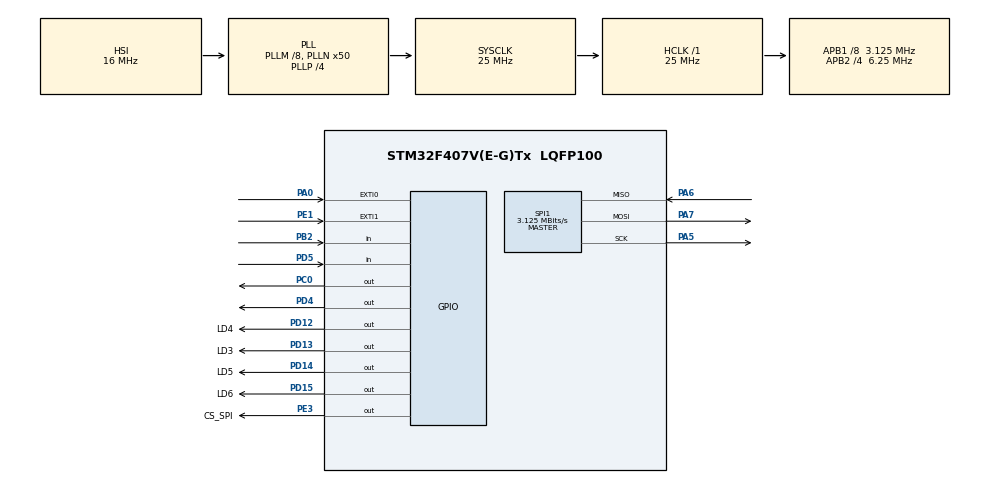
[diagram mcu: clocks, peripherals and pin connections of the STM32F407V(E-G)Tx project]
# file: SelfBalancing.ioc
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Mcu.Family=STM32F4
Mcu.Name=STM32F407V(E-G)Tx
Mcu.Package=LQFP100
NVIC.PriorityGroup=NVIC_PRIORITYGROUP_0
PA0-WKUP.GPIO_ModeDefaultEXTI=GPIO_MODE_IT_RISING
PA0-WKUP.GPIO_PuPd=GPIO_NOPULL
PA0-WKUP.Signal=GPXTI0
PA10.GPIO_Mode=GPIO_MODE_AF_PP
PA10.GPIO_PuPd=GPIO_NOPULL
PA10.GPIO_Speed=GPIO_SPEED_FREQ_VERY_HIGH
PA10.Signal=USB_OTG_FS_ID
PA11.GPIO_Mode=GPIO_MODE_AF_PP
PA11.GPIO_PuPd=GPIO_NOPULL
PA11.GPIO_Speed=GPIO_SPEED_FREQ_VERY_HIGH
PA11.Signal=USB_OTG_FS_DM
PA12.GPIO_Mode=GPIO_MODE_AF_PP
PA12.GPIO_PuPd=GPIO_NOPULL
PA12.GPIO_Speed=GPIO_SPEED_FREQ_VERY_HIGH
PA12.Signal=USB_OTG_FS_DP
PA13.Signal=SYS_JTMS-SWDIO
PA14.Signal=SYS_JTCK-SWCLK
PA4.GPIO_Mode=GPIO_MODE_AF_PP
PA4.GPIO_PuPd=GPIO_NOPULL
PA4.GPIO_Speed=GPIO_SPEED_FREQ_LOW
PA4.Signal=I2S3_WS
PA5.GPIO_Mode=GPIO_MODE_AF_PP
PA5.GPIO_PuPd=GPIO_NOPULL
PA5.GPIO_Speed=GPIO_SPEED_FREQ_VERY_HIGH
PA5.Mode=Full_Duplex_Master
PA5.Signal=SPI1_SCK
PA6.GPIO_Mode=GPIO_MODE_AF_PP
PA6.GPIO_PuPd=GPIO_NOPULL
PA6.GPIO_Speed=GPIO_SPEED_FREQ_VERY_HIGH
PA6.Mode=Full_Duplex_Master
PA6.Signal=SPI1_MISO
PA7.GPIO_Mode=GPIO_MODE_AF_PP
PA7.GPIO_PuPd=GPIO_NOPULL
PA7.GPIO_Speed=GPIO_SPEED_FREQ_VERY_HIGH
PA7.Mode=Full_Duplex_Master
PA7.Signal=SPI1_MOSI
PA9.GPIO_Mode=GPIO_MODE_INPUT
PA9.GPIO_PuPd=GPIO_NOPULL
PA9.Signal=USB_OTG_FS_VBUS
PB10.GPIO_Mode=GPIO_MODE_AF_PP
PB10.GPIO_PuPd=GPIO_NOPULL
PB10.GPIO_Speed=GPIO_SPEED_FREQ_LOW
PB10.Signal=I2S2_CK
PB2.GPIO_Mode=GPIO_MODE_INPUT
PB2.GPIO_PuPd=GPIO_NOPULL
PB2.Signal=GPIO_Input
PB3.Signal=SYS_JTDO-SWO
PB6.GPIO_Mode=GPIO_MODE_AF_OD
PB6.GPIO_PuPd=GPIO_NOPULL
PB6.GPIO_PuPdOD=GPIO_PULLUP
PB6.GPIO_Speed=GPIO_SPEED_FREQ_VERY_HIGH
PB6.Signal=I2C1_SCL
PB9.GPIO_Mode=GPIO_MODE_AF_OD
PB9.GPIO_PuPd=GPIO_NOPULL
PB9.GPIO_PuPdOD=GPIO_PULLUP
PB9.GPIO_Speed=GPIO_SPEED_FREQ_VERY_HIGH
PB9.Signal=I2C1_SDA
PC0.GPIO_ModeDefaultOutputPP=GPIO_MODE_OUTPUT_PP
PC0.GPIO_PuPd=GPIO_NOPULL
PC0.GPIO_Speed=GPIO_SPEED_FREQ_LOW
PC0.PinState=GPIO_PIN_RESET
PC0.Signal=GPIO_Output
PC10.GPIO_Mode=GPIO_MODE_AF_PP
PC10.GPIO_PuPd=GPIO_NOPULL
PC10.GPIO_Speed=GPIO_SPEED_FREQ_LOW
PC10.Signal=I2S3_CK
PC12.GPIO_Mode=GPIO_MODE_AF_PP
PC12.GPIO_PuPd=GPIO_NOPULL
PC12.GPIO_Speed=GPIO_SPEED_FREQ_LOW
PC12.Signal=I2S3_SD
PC14-OSC32_IN.Signal=RCC_OSC32_IN
PC15-OSC32_OUT.Signal=RCC_OSC32_OUT
PC3.GPIO_Mode=GPIO_MODE_AF_PP
PC3.GPIO_PuPd=GPIO_NOPULL
PC3.GPIO_Speed=GPIO_SPEED_FREQ_LOW
PC3.Signal=I2S2_SD
PC7.GPIO_Mode=GPIO_MODE_AF_PP
PC7.GPIO_PuPd=GPIO_NOPULL
PC7.GPIO_Speed=GPIO_SPEED_FREQ_LOW
PC7.Signal=I2S3_MCK
PD12.GPIO_Label=LD4
PD12.GPIO_ModeDefaultOutputPP=GPIO_MODE_OUTPUT_PP
PD12.GPIO_PuPd=GPIO_NOPULL
PD12.GPIO_Speed=GPIO_SPEED_FREQ_LOW
PD12.PinState=GPIO_PIN_RESET
PD12.Signal=GPIO_Output
PD13.GPIO_Label=LD3
PD13.GPIO_ModeDefaultOutputPP=GPIO_MODE_OUTPUT_PP
PD13.GPIO_PuPd=GPIO_NOPULL
PD13.GPIO_Speed=GPIO_SPEED_FREQ_LOW
PD13.PinState=GPIO_PIN_RESET
PD13.Signal=GPIO_Output
PD14.GPIO_Label=LD5
PD14.GPIO_ModeDefaultOutputPP=GPIO_MODE_OUTPUT_PP
PD14.GPIO_PuPd=GPIO_NOPULL
PD14.GPIO_Speed=GPIO_SPEED_FREQ_LOW
PD14.PinState=GPIO_PIN_RESET
PD14.Signal=GPIO_Output
PD15.GPIO_Label=LD6
PD15.GPIO_ModeDefaultOutputPP=GPIO_MODE_OUTPUT_PP
PD15.GPIO_PuPd=GPIO_NOPULL
PD15.GPIO_Speed=GPIO_SPEED_FREQ_LOW
PD15.PinState=GPIO_PIN_RESET
PD15.Signal=GPIO_Output
PD4.GPIO_ModeDefaultOutputPP=GPIO_MODE_OUTPUT_PP
PD4.GPIO_PuPd=GPIO_NOPULL
PD4.GPIO_Speed=GPIO_SPEED_FREQ_LOW
PD4.PinState=GPIO_PIN_RESET
PD4.Signal=GPIO_Output
PD5.GPIO_Mode=GPIO_MODE_INPUT
PD5.GPIO_PuPd=GPIO_NOPULL
PD5.Signal=GPIO_Input
PE1.GPIO_ModeDefaultEXTI=GPIO_MODE_IT_RISING
PE1.GPIO_PuPd=GPIO_NOPULL
PE1.Signal=GPXTI1
PE3.GPIO_Label=CS_SPI
PE3.GPIO_ModeDefaultOutputPP=GPIO_MODE_OUTPUT_PP
PE3.GPIO_PuPd=GPIO_NOPULL
PE3.GPIO_Speed=GPIO_SPEED_FREQ_LOW
PE3.PinState=GPIO_PIN_SET
PE3.Signal=GPIO_Output
PH0-OSC_IN.Signal=RCC_OSC_IN
PH1-OSC_OUT.Signal=RCC_OSC_OUT
ProjectManager.HeapSize=0x200
ProjectManager.StackSize=0x400
ProjectManager.TargetToolchain=SW4STM32
RCC.48MHZClocksFreq_Value=14285714.285714285
RCC.AHBFreq_Value=25000000
RCC.APB1CLKDivider=RCC_HCLK_DIV8
RCC.APB1Freq_Value=3125000
RCC.APB1TimFreq_Value=6250000
RCC.APB2CLKDivider=RCC_HCLK_DIV4
RCC.APB2Freq_Value=6250000
RCC.APB2TimFreq_Value=12500000
RCC.CortexFreq_Value=25000000
RCC.HCLKFreq_Value=25000000
RCC.HSE_VALUE=8000000
RCC.HSI_VALUE=16000000
RCC.LSE_VALUE=32768
RCC.PLLM=8
RCC.PLLN=50
RCC.PLLP=RCC_PLLP_DIV4
RCC.PLLQ=7
RCC.SYSCLKFreq_VALUE=25000000
RCC.SYSCLKSource=RCC_SYSCLKSOURCE_PLLCLK
RCC.VCOOutputFreq_Value=100000000
SPI1.CalculateBaudRate=3.125 MBits/s
SPI1.DataSize=SPI_DATASIZE_8BIT
SPI1.Direction=SPI_DIRECTION_2LINES
SPI1.FirstBit=SPI_FIRSTBIT_MSB
SPI1.Mode=SPI_MODE_MASTER
SPI1.VirtualType=VM_MASTER
board=STM32F4DISCOVERY

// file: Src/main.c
/**
  ******************************************************************************
  * File Name          : main.c
  * Description        : Main program body
  ******************************************************************************
  ** This notice applies to any and all portions of this file
  * that are not between comment pairs USER CODE BEGIN and
  * USER CODE END. Other portions of this file, whether
  * inserted by the user or by software development tools
  * are owned by their respective copyright owners.
  *
  * COPYRIGHT(c) 2018 STMicroelectronics
  *
  * Redistribution and use in source and binary forms, with or without modification,
  * are permitted provided that the following conditions are met:
  *   1. Redistributions of source code must retain the above copyright notice,
  *      this list of conditions and the following disclaimer.
  *   2. Redistributions in binary form must reproduce the above copyright notice,
  *      this list of conditions and the following disclaimer in the documentation
  *      and/or other materials provided with the distribution.
  *   3. Neither the name of STMicroelectronics nor the names of its contributors
  *      may be used to endorse or promote products derived from this software
  *      without specific prior written permission.
  *
  * THIS SOFTWARE IS PROVIDED BY THE COPYRIGHT HOLDERS AND CONTRIBUTORS "AS IS"
  * AND ANY EXPRESS OR IMPLIED WARRANTIES, INCLUDING, BUT NOT LIMITED TO, THE
  * IMPLIED WARRANTIES OF MERCHANTABILITY AND FITNESS FOR A PARTICULAR PURPOSE ARE
  * DISCLAIMED. IN NO EVENT SHALL THE COPYRIGHT HOLDER OR CONTRIBUTORS BE LIABLE
  * FOR ANY DIRECT, INDIRECT, INCIDENTAL, SPECIAL, EXEMPLARY, OR CONSEQUENTIAL
  * DAMAGES (INCLUDING, BUT NOT LIMITED TO, PROCUREMENT OF SUBSTITUTE GOODS OR
  * SERVICES; LOSS OF USE, DATA, OR PROFITS; OR BUSINESS INTERRUPTION) HOWEVER
  * CAUSED AND ON ANY THEORY OF LIABILITY, WHETHER IN CONTRACT, STRICT LIABILITY,
  * OR TORT (INCLUDING NEGLIGENCE OR OTHERWISE) ARISING IN ANY WAY OUT OF THE USE
  * OF THIS SOFTWARE, EVEN IF ADVISED OF THE POSSIBILITY OF SUCH DAMAGE.
  *
  ******************************************************************************
  */

#include "main.h"
#include "stm32f4xx_hal.h"

/* USER CODE BEGIN Includes */
SPI_HandleTypeDef hspi1;
/* LD4 -> Green Led
 * LD3 -> Orange Led
 * LD5 -> Red Led
 * LD6 -> Blue Led
 */
#include "defines.h"
/*#include "tm_stm32f4_disco.h" */
/*#include "tm_stm32f4_delay.h" */
#include "tm_stm32f4_lis302dl_lis3dsh.h"

/* USER CODE END Includes */

/* USER CODE BEGIN PV */
/* Private variables ---------------------------------------------------------*/

/* USER CODE END PV */

void SystemClock_Config(void);
static void MX_GPIO_Init(void);
static void MX_SPI1_Init(void);

/* USER CODE BEGIN PFP */
/* Private function prototypes -----------------------------------------------*/

/* USER CODE END PFP */

int main(void)
{

  /* USER CODE BEGIN 1 */

	TM_LIS302DL_LIS3DSH_Device_t status_gyro;

  /* USER CODE END 1 */

  /* MCU Configuration----------------------------------------------------------*/

  /* Reset of all peripherals, Initializes the Flash interface and the Systick. */
  HAL_Init();

  /* Configure the system clock */
  SystemClock_Config();

  /* Initialize all configured peripherals */
  MX_GPIO_Init();
  MX_SPI1_Init();

  /* USER CODE BEGIN 2 */

  TM_LIS302DL_LIS3DSH_t Axes_Data;

   /* Initialize system */
   SystemInit();

   /* Init delay */

   //  TM_DELAY_Init(); #from original file
   // This function is not needed. HAL delay will be used

   /* Initialize LEDs */
   //TM_DISCO_LedInit(); #CubeMX should have already set the pins. I am using the default setting of the Discovery board

   /* Detect proper device */

   status_gyro = TM_LIS302DL_LIS3DSH_Detect();
   if (TM_LIS302DL_LIS3DSH_Detect() == TM_LIS302DL_LIS3DSH_Device_LIS302DL) {
       /* Turn on GREEN and RED */
       //TM_DISCO_LedOn(LD4_Pin | LD5_Pin);
       /* Initialize LIS302DL */
       TM_LIS302DL_LIS3DSH_Init(TM_LIS302DL_Sensitivity_2_3G, TM_LIS302DL_Filter_2Hz);

   } else if (TM_LIS302DL_LIS3DSH_Detect() == TM_LIS302DL_LIS3DSH_Device_LIS3DSH) {
       /* Turn on BLUE and ORANGE */
      // TM_DISCO_LedOn(LD6_Pin | LD3_Pin);
       /* Initialize LIS3DSH */
       TM_LIS302DL_LIS3DSH_Init(TM_LIS3DSH_Sensitivity_2G, TM_LIS3DSH_Filter_800Hz);
   } else {
       /* Device is not recognized */
       /* Turn on ALL leds */
       //TM_DISCO_LedOn(LD4_Pin | LD5_Pin | LD6_Pin | LD3_Pin);
	   HAL_GPIO_TogglePin(GPIOD, LD5_Pin);
       /* Infinite loop */

       //while (1);
   }

   /* Delay for 2 seconds */
   //HAL_Delay(2000);

  /* USER CODE END 2 */

  /* Infinite loop */
  while (1)
  {

  /* USER CODE BEGIN 3 */

	  /*
	  if (status_gyro == TM_LIS302DL_LIS3DSH_Device_LIS302DL) {

		  HAL_GPIO_TogglePin(GPIOD, LD3_Pin);
		  HAL_Delay(100);

	  } else if (status_gyro == TM_LIS302DL_LIS3DSH_Device_LIS3DSH) {

		  HAL_GPIO_TogglePin(GPIOD, LD4_Pin);
		  HAL_Delay(100);

	  } else
	  {
		  HAL_GPIO_TogglePin(GPIOD, LD5_Pin);
		  HAL_Delay(100);
	  }; */

	    /* Read axes data from initialized accelerometer */

	       TM_LIS302DL_LIS3DSH_ReadAxes(&Axes_Data);
	       /* Turn LEDS on or off */
	       /* Check X axes */

	       if (Axes_Data.X > 200) {
	           HAL_GPIO_WritePin(GPIOD, LD5_Pin, GPIO_PIN_SET);
	       } else {
	           HAL_GPIO_WritePin(GPIOD,LD5_Pin, GPIO_PIN_RESET);
	       }
	       if (Axes_Data.X < -200) {
	    	   HAL_GPIO_WritePin(GPIOD, LD4_Pin, GPIO_PIN_SET);
	       } else {
	    	   HAL_GPIO_WritePin(GPIOD,LD4_Pin, GPIO_PIN_RESET);
	       }
	       /* Check Y axes */

	       if (Axes_Data.Y > 200) {
	    	   HAL_GPIO_WritePin(GPIOD, LD3_Pin, GPIO_PIN_SET);
	       } else {
	    	   HAL_GPIO_WritePin(GPIOD,LD3_Pin, GPIO_PIN_RESET);
	       }
	       if (Axes_Data.Y < -200) {
	    	   HAL_GPIO_WritePin(GPIOD, LD6_Pin, GPIO_PIN_SET);
	       } else {
	    	   HAL_GPIO_WritePin(GPIOD, LD6_Pin, GPIO_PIN_RESET);
	       }

  }
  /* USER CODE END 3 */

}

/** System Clock Configuration
*/
void SystemClock_Config(void)
{

  RCC_OscInitTypeDef RCC_OscInitStruct;
  RCC_ClkInitTypeDef RCC_ClkInitStruct;

    /**Configure the main internal regulator output voltage
    */
  __HAL_RCC_PWR_CLK_ENABLE();

  __HAL_PWR_VOLTAGESCALING_CONFIG(PWR_REGULATOR_VOLTAGE_SCALE1);

    /**Initializes the CPU, AHB and APB busses clocks
    */
  RCC_OscInitStruct.OscillatorType = RCC_OSCILLATORTYPE_HSI;
  RCC_OscInitStruct.HSIState = RCC_HSI_ON;
  RCC_OscInitStruct.HSICalibrationValue = 16;
  RCC_OscInitStruct.PLL.PLLState = RCC_PLL_ON;
  RCC_OscInitStruct.PLL.PLLSource = RCC_PLLSOURCE_HSI;
  RCC_OscInitStruct.PLL.PLLM = 8;
  RCC_OscInitStruct.PLL.PLLN = 50;
  RCC_OscInitStruct.PLL.PLLP = RCC_PLLP_DIV4;
  RCC_OscInitStruct.PLL.PLLQ = 7;
  if (HAL_RCC_OscConfig(&RCC_OscInitStruct) != HAL_OK)
  {
    _Error_Handler(__FILE__, __LINE__);
  }

    /**Initializes the CPU, AHB and APB busses clocks
    */
  RCC_ClkInitStruct.ClockType = RCC_CLOCKTYPE_HCLK|RCC_CLOCKTYPE_SYSCLK
                              |RCC_CLOCKTYPE_PCLK1|RCC_CLOCKTYPE_PCLK2;
  RCC_ClkInitStruct.SYSCLKSource = RCC_SYSCLKSOURCE_PLLCLK;
  RCC_ClkInitStruct.AHBCLKDivider = RCC_SYSCLK_DIV1;
  RCC_ClkInitStruct.APB1CLKDivider = RCC_HCLK_DIV8;
  RCC_ClkInitStruct.APB2CLKDivider = RCC_HCLK_DIV4;

  if (HAL_RCC_ClockConfig(&RCC_ClkInitStruct, FLASH_LATENCY_0) != HAL_OK)
  {
    _Error_Handler(__FILE__, __LINE__);
  }

    /**Configure the Systick interrupt time
    */
  HAL_SYSTICK_Config(HAL_RCC_GetHCLKFreq()/1000);

    /**Configure the Systick
    */
  HAL_SYSTICK_CLKSourceConfig(SYSTICK_CLKSOURCE_HCLK);

  /* SysTick_IRQn interrupt configuration */
  HAL_NVIC_SetPriority(SysTick_IRQn, 0, 0);
}

/* SPI1 init function */
static void MX_SPI1_Init(void)
{

  /* SPI1 parameter configuration*/
  hspi1.Instance = SPI1;
  hspi1.Init.Mode = SPI_MODE_MASTER;
  hspi1.Init.Direction = SPI_DIRECTION_2LINES;
  hspi1.Init.DataSize = SPI_DATASIZE_8BIT;
  hspi1.Init.CLKPolarity = SPI_POLARITY_LOW;
  hspi1.Init.CLKPhase = SPI_PHASE_1EDGE;
  hspi1.Init.NSS = SPI_NSS_SOFT;
  hspi1.Init.BaudRatePrescaler = SPI_BAUDRATEPRESCALER_2;
  hspi1.Init.FirstBit = SPI_FIRSTBIT_MSB;
  hspi1.Init.TIMode = SPI_TIMODE_DISABLE;
  hspi1.Init.CRCCalculation = SPI_CRCCALCULATION_DISABLE;
  hspi1.Init.CRCPolynomial = 10;
  if (HAL_SPI_Init(&hspi1) != HAL_OK)
  {
    _Error_Handler(__FILE__, __LINE__);
  }

}

/** Configure pins as
        * Analog
        * Input
        * Output
        * EVENT_OUT
        * EXTI
     PC3   ------> I2S2_SD
     PA4   ------> I2S3_WS
     PB10   ------> I2S2_CK
     PC7   ------> I2S3_MCK
     PA9   ------> USB_OTG_FS_VBUS
     PA10   ------> USB_OTG_FS_ID
     PA11   ------> USB_OTG_FS_DM
     PA12   ------> USB_OTG_FS_DP
     PC10   ------> I2S3_CK
     PC12   ------> I2S3_SD
     PB6   ------> I2C1_SCL
     PB9   ------> I2C1_SDA
*/
static void MX_GPIO_Init(void)
{

  GPIO_InitTypeDef GPIO_InitStruct;

  /* GPIO Ports Clock Enable */
  __HAL_RCC_GPIOE_CLK_ENABLE();
  __HAL_RCC_GPIOC_CLK_ENABLE();
  __HAL_RCC_GPIOH_CLK_ENABLE();
  __HAL_RCC_GPIOA_CLK_ENABLE();
  __HAL_RCC_GPIOB_CLK_ENABLE();
  __HAL_RCC_GPIOD_CLK_ENABLE();

  /*Configure GPIO pin Output Level */
  HAL_GPIO_WritePin(CS_SPI_GPIO_Port, CS_SPI_Pin, GPIO_PIN_SET);

  /*Configure GPIO pin Output Level */
  HAL_GPIO_WritePin(GPIOC, GPIO_PIN_0, GPIO_PIN_RESET);

  /*Configure GPIO pin Output Level */
  HAL_GPIO_WritePin(GPIOD, LD4_Pin|LD3_Pin|LD5_Pin|LD6_Pin
                          |GPIO_PIN_4, GPIO_PIN_RESET);

  /*Configure GPIO pin : CS_SPI_Pin */
  GPIO_InitStruct.Pin = CS_SPI_Pin;
  GPIO_InitStruct.Mode = GPIO_MODE_OUTPUT_PP;
  GPIO_InitStruct.Pull = GPIO_NOPULL;
  GPIO_InitStruct.Speed = GPIO_SPEED_FREQ_LOW;
  HAL_GPIO_Init(CS_SPI_GPIO_Port, &GPIO_InitStruct);

  /*Configure GPIO pin : PC0 */
  GPIO_InitStruct.Pin = GPIO_PIN_0;
  GPIO_InitStruct.Mode = GPIO_MODE_OUTPUT_PP;
  GPIO_InitStruct.Pull = GPIO_NOPULL;
  GPIO_InitStruct.Speed = GPIO_SPEED_FREQ_LOW;
  HAL_GPIO_Init(GPIOC, &GPIO_InitStruct);

  /*Configure GPIO pin : PC3 */
  GPIO_InitStruct.Pin = GPIO_PIN_3;
  GPIO_InitStruct.Mode = GPIO_MODE_AF_PP;
  GPIO_InitStruct.Pull = GPIO_NOPULL;
  GPIO_InitStruct.Speed = GPIO_SPEED_FREQ_LOW;
  GPIO_InitStruct.Alternate = GPIO_AF5_SPI2;
  HAL_GPIO_Init(GPIOC, &GPIO_InitStruct);

  /*Configure GPIO pin : PA0 */
  GPIO_InitStruct.Pin = GPIO_PIN_0;
  GPIO_InitStruct.Mode = GPIO_MODE_IT_RISING;
  GPIO_InitStruct.Pull = GPIO_NOPULL;
  HAL_GPIO_Init(GPIOA, &GPIO_InitStruct);

  /*Configure GPIO pin : PA4 */
  GPIO_InitStruct.Pin = GPIO_PIN_4;
  GPIO_InitStruct.Mode = GPIO_MODE_AF_PP;
  GPIO_InitStruct.Pull = GPIO_NOPULL;
  GPIO_InitStruct.Speed = GPIO_SPEED_FREQ_LOW;
  GPIO_InitStruct.Alternate = GPIO_AF6_SPI3;
  HAL_GPIO_Init(GPIOA, &GPIO_InitStruct);

  /*Configure GPIO pin : PB2 */
  GPIO_InitStruct.Pin = GPIO_PIN_2;
  GPIO_InitStruct.Mode = GPIO_MODE_INPUT;
  GPIO_InitStruct.Pull = GPIO_NOPULL;
  HAL_GPIO_Init(GPIOB, &GPIO_InitStruct);

  /*Configure GPIO pin : PB10 */
  GPIO_InitStruct.Pin = GPIO_PIN_10;
  GPIO_InitStruct.Mode = GPIO_MODE_AF_PP;
  GPIO_InitStruct.Pull = GPIO_NOPULL;
  GPIO_InitStruct.Speed = GPIO_SPEED_FREQ_LOW;
  GPIO_InitStruct.Alternate = GPIO_AF5_SPI2;
  HAL_GPIO_Init(GPIOB, &GPIO_InitStruct);

  /*Configure GPIO pins : LD4_Pin LD3_Pin LD5_Pin LD6_Pin
                           PD4 */
  GPIO_InitStruct.Pin = LD4_Pin|LD3_Pin|LD5_Pin|LD6_Pin
                          |GPIO_PIN_4;
  GPIO_InitStruct.Mode = GPIO_MODE_OUTPUT_PP;
  GPIO_InitStruct.Pull = GPIO_NOPULL;
  GPIO_InitStruct.Speed = GPIO_SPEED_FREQ_LOW;
  HAL_GPIO_Init(GPIOD, &GPIO_InitStruct);

  /*Configure GPIO pins : PC7 PC10 PC12 */
  GPIO_InitStruct.Pin = GPIO_PIN_7|GPIO_PIN_10|GPIO_PIN_12;
  GPIO_InitStruct.Mode = GPIO_MODE_AF_PP;
  GPIO_InitStruct.Pull = GPIO_NOPULL;
  GPIO_InitStruct.Speed = GPIO_SPEED_FREQ_LOW;
  GPIO_InitStruct.Alternate = GPIO_AF6_SPI3;
  HAL_GPIO_Init(GPIOC, &GPIO_InitStruct);

  /*Configure GPIO pin : PA9 */
  GPIO_InitStruct.Pin = GPIO_PIN_9;
  GPIO_InitStruct.Mode = GPIO_MODE_INPUT;
  GPIO_InitStruct.Pull = GPIO_NOPULL;
  HAL_GPIO_Init(GPIOA, &GPIO_InitStruct);

  /*Configure GPIO pins : PA10 PA11 PA12 */
  GPIO_InitStruct.Pin = GPIO_PIN_10|GPIO_PIN_11|GPIO_PIN_12;
  GPIO_InitStruct.Mode = GPIO_MODE_AF_PP;
  GPIO_InitStruct.Pull = GPIO_NOPULL;
  GPIO_InitStruct.Speed = GPIO_SPEED_FREQ_VERY_HIGH;
  GPIO_InitStruct.Alternate = GPIO_AF10_OTG_FS;
  HAL_GPIO_Init(GPIOA, &GPIO_InitStruct);

  /*Configure GPIO pin : PD5 */
  GPIO_InitStruct.Pin = GPIO_PIN_5;
  GPIO_InitStruct.Mode = GPIO_MODE_INPUT;
  GPIO_InitStruct.Pull = GPIO_NOPULL;
  HAL_GPIO_Init(GPIOD, &GPIO_InitStruct);

  /*Configure GPIO pins : PB6 PB9 */
  GPIO_InitStruct.Pin = GPIO_PIN_6|GPIO_PIN_9;
  GPIO_InitStruct.Mode = GPIO_MODE_AF_OD;
  GPIO_InitStruct.Pull = GPIO_PULLUP;
  GPIO_InitStruct.Speed = GPIO_SPEED_FREQ_VERY_HIGH;
  GPIO_InitStruct.Alternate = GPIO_AF4_I2C1;
  HAL_GPIO_Init(GPIOB, &GPIO_InitStruct);

  /*Configure GPIO pin : PE1 */
  GPIO_InitStruct.Pin = GPIO_PIN_1;
  GPIO_InitStruct.Mode = GPIO_MODE_IT_RISING;
  GPIO_InitStruct.Pull = GPIO_NOPULL;
  HAL_GPIO_Init(GPIOE, &GPIO_InitStruct);

}

void _Error_Handler(char * file, int line)
{
  while(1)
  {
  }
}

/************************ (C) COPYRIGHT STMicroelectronics *****END OF FILE****/
